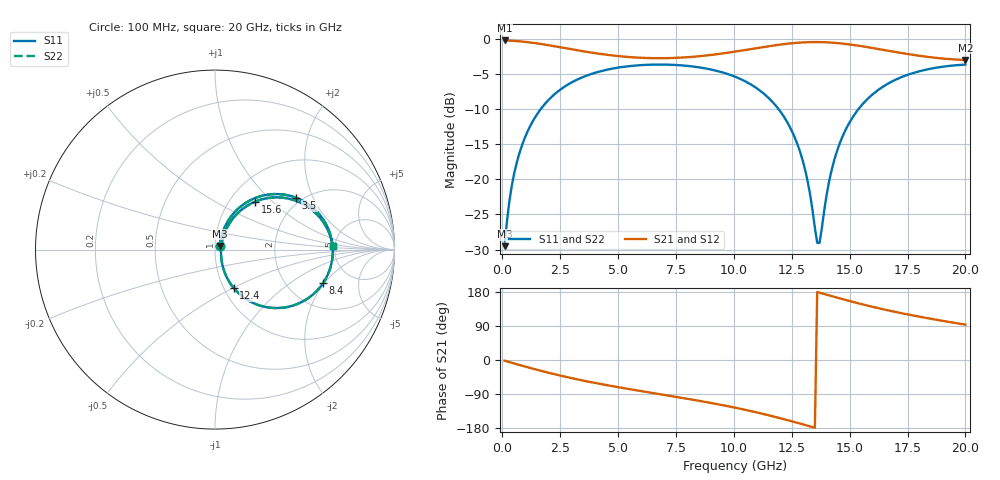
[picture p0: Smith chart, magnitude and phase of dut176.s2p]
! Touchstone file exported from HFSS 2026.1.0
!  File:  C:/ffzhzh/LocalFiles/Ansys_Project_Files/temp_train_TSV_RDL_176_1783056203_18316.aedt
!  Generated:  01:36:01 PM Jul  3, 2026
!  Design:  TSV_RDL
!  Project:  temp_train_TSV_RDL_176_1783056203_18316
! Variables:
!  h_bsmrdl = 5.04um
!  h_ox = 20um
!  h_rdl = 5um
!  h_sub = 95.37um
!  h_tmrdl = 2.28um
!  h_tsv = 95.37um
!  h_via = 3um
!  l_bsmrdl = 979.23um
!  l_sub = 4373.74um
!  l_tmrdl = 228.09um
!  m_sub = 200um
!  pitch = 55.67um
!  r_tsv = 3.78um
!  s_tmrdl = 10um
!  w_bsmrdl = 13.58um
!  w_sub = 500um
!  w_tmrdl = 27.65um
!  x_tsv_center1 = 241.915um
!  x_tsv_center2 = 1234.725um
!  x_tsv_center3 = 1490.465um
!  x_tsv_center4 = 2483.275um
!  x_tsv_center5 = 2739.015um
!  x_tsv_center6 = 3731.825um
# GHz S MA R 50.000000
! Terminal data exported
! Port[1] = TM_RDL1_1_T1
! Port[2] = TM_RDL5_1_T1
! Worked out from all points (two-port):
!   200 points, 100 MHz to 20 GHz, reference 50 ohm
!   highest |S21| = -0.23 dB at 100 MHz (marker M1); lowest = -3.0 dB at 20 GHz (marker M2)
!   |S21| within 3 dB of the highest: start of sweep to end of sweep
!   lowest |S11| = -29.5 dB at 100 MHz (marker M3), VSWR 1.07, Z = 52.7 + j2.17 ohm
!   |S11| at or under -10 dB: start of sweep to 1.661 GHz; 11.93 GHz to 15.38 GHz (3.453 GHz wide, 25.3 % of centre)
!   |S22| runs from -29.5 to -3.7 dB; largest |S21 - S12| = 1.7e-14
!   S11 on the Smith chart (normalised r, x): 100 MHz: 1.05, +0.04; 3.5 GHz: 1.86, +1.50; 8.4 GHz: 3.11, -1.94; 12.4 GHz: 1.11, -0.51; 15.6 GHz: 1.30, +0.79; 20 GHz: 4.78, +0.36
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0.1  0.03345 38.0  0.9741 -1.8  0.9741 -1.8  0.03345 38.0
! Gamma 0 0 0 0
! Port Impedance 50 0 50 0
0.3  0.06872 61.7  0.9713 -5.4  0.9713 -5.4  0.06873 61.7
0.5  0.1075 66.1  0.9669 -9.0  0.9669 -9.0  0.1075 66.1
1.1  0.2206 63.2  0.9469 -19.3  0.9469 -19.3  0.2206 63.2
2.1  0.3821 50.4  0.8952 -35.2  0.8952 -35.2  0.3821 50.4
3.5  0.5362 32.6  0.8155 -54.4  0.8155 -54.4  0.5362 32.6
5.1  0.6276 15.1  0.7513 -72.7  0.7513 -72.7  0.6276 15.1
6.8  0.6565 -1.6  0.7282 -90.2  0.7282 -90.2  0.6565 -1.6
8.4  0.6302 -17.3  0.7494 -106.6  0.7494 -106.6  0.6302 -17.3
10.1  0.5338 -35.8  0.8139 -126.4  0.8139 -126.4  0.5338 -35.8
11.4  0.3934 -51.9  0.8812 -144.3  0.8812 -144.3  0.3934 -51.8
12.4  0.2391 -64.0  0.9267 -160.0  0.9267 -160.0  0.2391 -63.9
13  0.1313 -67.0  0.9436 -170.2  0.9436 -170.2  0.1313 -66.9
13.4  0.05991 -54.2  0.9484 -177.1  0.9484 -177.1  0.05999 -54.1
13.6  0.03541 -18.6  0.9486 179.4  0.9486 179.4  0.03554 -18.5
13.7  0.03529 12.0  0.9482 177.7  0.9482 177.7  0.03542 12.0
14.1  0.09411 58.3  0.9429 170.7  0.9429 170.7  0.09416 58.2
14.4  0.1488 61.3  0.9353 165.6  0.9353 165.6  0.1489 61.2
15.6  0.3488 50.0  0.8823 146.2  0.8823 146.2  0.3488 50.0
16.7  0.4844 36.4  0.8211 130.5  0.8211 130.5  0.4844 36.4
18.4  0.6084 17.5  0.743 109.9  0.743 109.9  0.6084 17.5
20  0.6557 1.9  0.7067 93.2  0.7067 93.2  0.6557 1.9
